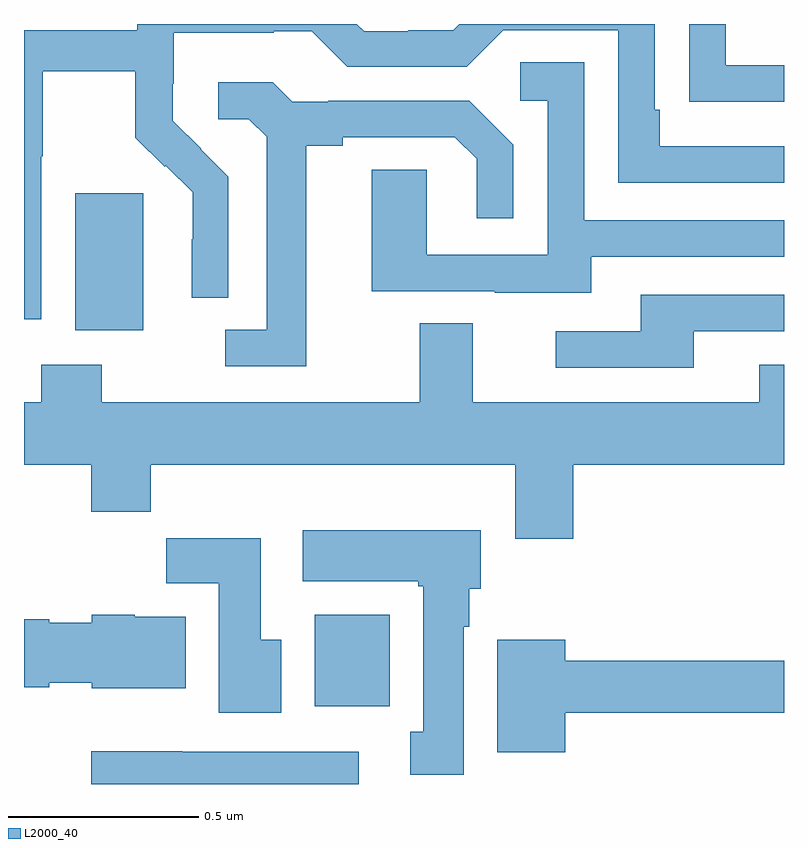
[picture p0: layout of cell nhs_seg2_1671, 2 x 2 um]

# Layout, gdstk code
import gdstk
lib = gdstk.Library(unit=1e-6, precision=1e-09)
def R(c, l, rs):  # rectangles x0, y0, x1, y1
    for r in rs: c.add(gdstk.rectangle(r[:2], r[2:], *l))
def P(c, l, *ps):  # polygons
    for p in ps: c.add(gdstk.Polygon(p, *l))
L2000_40 = (2000, 40)

nhs_seg2_1671 = lib.new_cell('nhs_seg2_1671')
R(nhs_seg2_1671, L2000_40, [(131.765,643.004,131.962,643.246), (131.135,643.994,131.314,644.355)])
P(nhs_seg2_1671, L2000_40, [(133,644.691),(132.847,644.691),(132.847,644.8),(132.751,644.8),(132.751,644.596),(132.853,644.596),(132.853,644.595),(133,644.595)],
  [(131.046,644.452),(131.049,644.452),(131.049,644.676),(131.293,644.676),(131.293,644.501),(131.37,644.424),(131.373,644.427),(131.444,644.357),(131.444,644.234),(131.442,644.234),(131.442,644.08),(131.538,644.08),(131.538,644.398),(131.465,644.471),(131.466,644.472),(131.392,644.546),(131.392,644.643),(131.394,644.643),(131.394,644.777),(131.657,644.777),(131.657,644.781),(131.757,644.781),(131.85,644.688),(132.165,644.688),(132.261,644.784),(132.564,644.784),(132.564,644.382),(133,644.382),(133,644.478),(132.673,644.478),(132.673,644.575),(132.66,644.575),(132.66,644.8),(132.145,644.8),(132.129,644.784),(132.011,644.784),(132.011,644.781),(131.895,644.781),(131.876,644.8),(131.298,644.8),(131.298,644.784),(131,644.784),(131,644.023),(131.046,644.023)],
  [(132.493,644.187),(133,644.187),(133,644.283),(132.474,644.283),(132.474,644.699),(132.306,644.699),(132.306,644.598),(132.378,644.598),(132.378,644.193),(132.06,644.193),(132.06,644.417),(131.915,644.417),(131.915,644.097),(132.239,644.097),(132.239,644.093),(132.493,644.093)],
  [(131.743,644.48),(131.839,644.48),(131.839,644.502),(132.134,644.502),(132.191,644.445),(132.191,644.289),(132.288,644.289),(132.288,644.482),(132.172,644.598),(131.8,644.598),(131.8,644.595),(131.706,644.595),(131.654,644.647),(131.511,644.647),(131.511,644.55),(131.592,644.55),(131.639,644.503),(131.639,643.995),(131.529,643.995),(131.529,643.899),(131.743,643.899)],
  [(132.763,643.992),(133,643.992),(133,644.088),(132.623,644.088),(132.623,643.992),(132.399,643.992),(132.399,643.896),(132.763,643.896)],
  [(132.446,643.64),(133,643.64),(133,643.903),(132.935,643.903),(132.935,643.804),(132.181,643.804),(132.181,644.012),(132.041,644.012),(132.041,643.804),(131.205,643.804),(131.205,643.903),(131.045,643.903),(131.045,643.804),(131,643.804),(131,643.64),(131.177,643.64),(131.177,643.516),(131.333,643.516),(131.333,643.64),(132.293,643.64),(132.293,643.446),(132.446,643.446)],
  [(132.157,643.214),(132.172,643.214),(132.172,643.314),(132.202,643.314),(132.202,643.468),(131.733,643.468),(131.733,643.334),(132.037,643.334),(132.037,643.321),(132.05,643.321),(132.05,642.938),(132.017,642.938),(132.017,642.825),(132.157,642.825)],
  [(131.677,643.18),(131.623,643.18),(131.623,643.447),(131.374,643.447),(131.374,643.328),(131.513,643.328),(131.513,642.987),(131.677,642.987)],
  [(131.425,643.24),(131.292,643.24),(131.292,643.246),(131.178,643.246),(131.178,643.225),(131.067,643.225),(131.067,643.233),(131,643.233),(131,643.055),(131.067,643.055),(131.067,643.067),(131.178,643.067),(131.178,643.052),(131.425,643.052)],
  [(132.424,642.988),(133,642.988),(133,643.124),(132.424,643.124),(132.424,643.18),(132.245,643.18),(132.245,642.884),(132.424,642.884)],
  [(131.881,642.885),(131.417,642.885),(131.417,642.886),(131.177,642.886),(131.177,642.8),(131.881,642.8)])

lib.write_gds('nhs_seg2_1671.gds')
